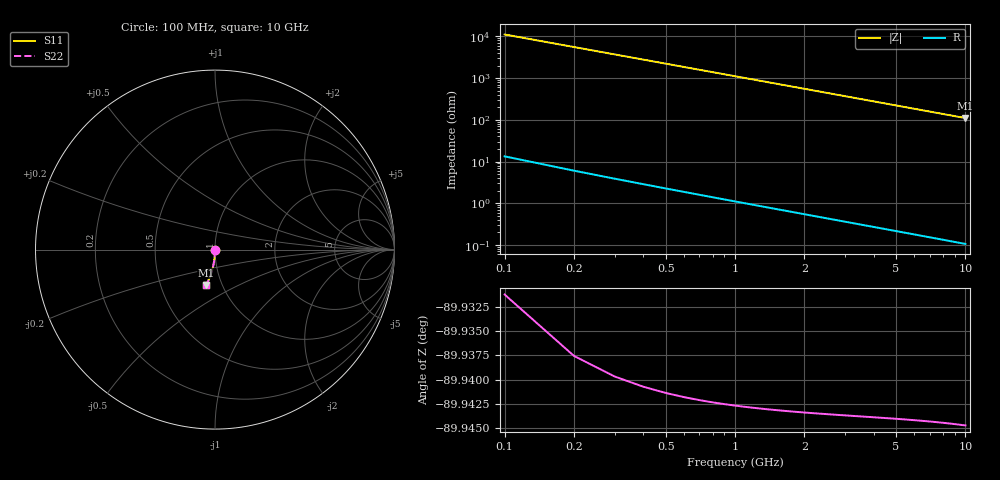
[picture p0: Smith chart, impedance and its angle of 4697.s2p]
# Hz S RI R 50.00
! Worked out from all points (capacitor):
!   100 points, 100 MHz to 10 GHz, reference 50 ohm
!   read as one part in shunt: C = 143 fF near 100 MHz
!   lowest |Z| = 110 ohm at 10 GHz (marker M1)
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1e8  8.31e-05 -0.00205  0.9999 -0.00245  0.9999 -0.00245  8.31e-05 -0.00205
2e8  6.64e-05 -0.00411  0.9999 -0.0049  0.9999 -0.0049  6.64e-05 -0.00411
3e8  3.95e-05 -0.00616  0.9999 -0.00735  0.9999 -0.00735  3.95e-05 -0.00616
4e8  2.43e-06 -0.00822  0.9998 -0.0098  0.9998 -0.0098  2.43e-06 -0.00822
5e8  -4.48e-05 -0.0103  0.9998 -0.0123  0.9998 -0.0123  -4.48e-05 -0.0103
6e8  -0.000102 -0.0123  0.9997 -0.0147  0.9997 -0.0147  -0.000102 -0.0123
7e8  -0.000169 -0.0144  0.9996 -0.0172  0.9996 -0.0172  -0.000169 -0.0144
8e8  -0.000247 -0.0164  0.9996 -0.0196  0.9996 -0.0196  -0.000247 -0.0164
9e8  -0.000335 -0.0185  0.9995 -0.0221  0.9995 -0.0221  -0.000335 -0.0185
1.1e9  -0.00054 -0.0226  0.9993 -0.0269  0.9993 -0.0269  -0.00054 -0.0226
1.4e9  -0.000924 -0.0287  0.9989 -0.0343  0.9989 -0.0343  -0.000924 -0.0287
1.8e9  -0.00158 -0.0369  0.9982 -0.0441  0.9982 -0.0441  -0.00158 -0.0369
2.1e9  -0.00217 -0.0431  0.9976 -0.0514  0.9976 -0.0514  -0.00217 -0.0431
2.5e9  -0.00311 -0.0513  0.9967 -0.0612  0.9967 -0.0612  -0.00311 -0.0513
2.9e9  -0.0042 -0.0594  0.9955 -0.0709  0.9955 -0.0709  -0.0042 -0.0594
3.4e9  -0.00579 -0.0696  0.9939 -0.0831  0.9939 -0.0831  -0.00579 -0.0696
4.2e9  -0.00886 -0.0857  0.9908 -0.1024  0.9908 -0.1024  -0.00886 -0.0857
5.1e9  -0.0131 -0.1037  0.9865 -0.124  0.9865 -0.124  -0.0131 -0.1037
5.9e9  -0.0174 -0.1195  0.9821 -0.143  0.9821 -0.143  -0.0174 -0.1195
6.7e9  -0.0224 -0.1351  0.977 -0.1618  0.977 -0.1618  -0.0224 -0.1351
8.4e9  -0.035 -0.1674  0.9643 -0.201  0.9643 -0.201  -0.035 -0.1674
1e10  -0.0491 -0.1965  0.9499 -0.2366  0.9499 -0.2366  -0.0491 -0.1965
